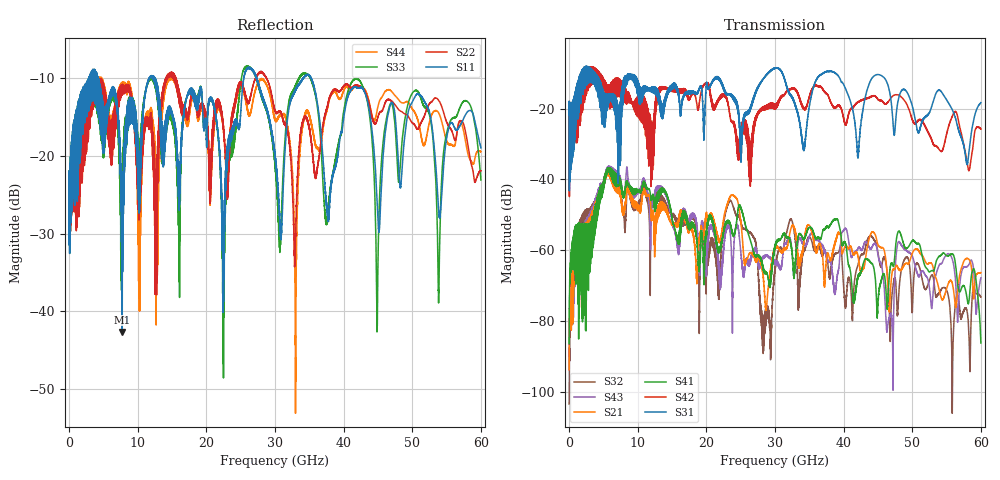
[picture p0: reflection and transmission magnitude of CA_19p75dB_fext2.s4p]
!4 port subset of full cascaded channels using these ports:3 37 4 38
# Hz S RI R 50
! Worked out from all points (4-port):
!   6000 points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, 10 MHz to 60 GHz, reference 50 ohm
!   strongest paths, dB at 10 MHz, 15.01 GHz, 30.01 GHz, 45.01 GHz, 60 GHz:
!     S31: -21.8, -13.5, -8.4, -10.3, -18.3
!     S42: -21.9, -14.4, -18.7, -17.3, -25.7
!     S41: -86.4, -51.1, -59.0, -75.6, -86.2
!     S21: -93.8, -53.0, -59.7, -58.5, -66.3
!     S43: -90.0, -52.4, -64.0, -61.3, -67.8
!     S32: -103.5, -50.0, -65.5, -60.9, -73.2
!   lowest |S11| = -42.7 dB at 7.75 GHz (marker M1), VSWR 1.01, Z = 49.5 - j0.572 ohm
!   |S11| at or under -10 dB: 4.29 GHz to 11.66 GHz (7.368 GHz wide, 92.4 % of centre); 12.52 GHz to 25.46 GHz (12.94 GHz wide, 68.1 % of centre); 35.28 GHz to end of sweep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
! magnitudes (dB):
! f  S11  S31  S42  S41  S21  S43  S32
! 10 MHz  -23.9  -21.8  -21.9  -86.4  -93.8  -90.0  -103.5
! 7.75 GHz  -42.7  -17.5  -15.5  -43.7  -48.4  -43.4  -47.5
! 21.77 GHz  -17.8  -11.1  -17.8  -60.7  -57.3  -64.6  -69.0
! 23.59 GHz  -17.9  -16.1  -23.5  -53.4  -44.5  -58.1  -46.1
! 28.31 GHz  -12.7  -11.5  -20.0  -64.9  -67.6  -61.7  -79.7
! 32.3 GHz  -12.9  -16.4  -14.4  -58.4  -54.1  -57.5  -51.3
! 60 GHz  -19.0  -18.3  -25.7  -86.2  -66.3  -67.8  -73.2
